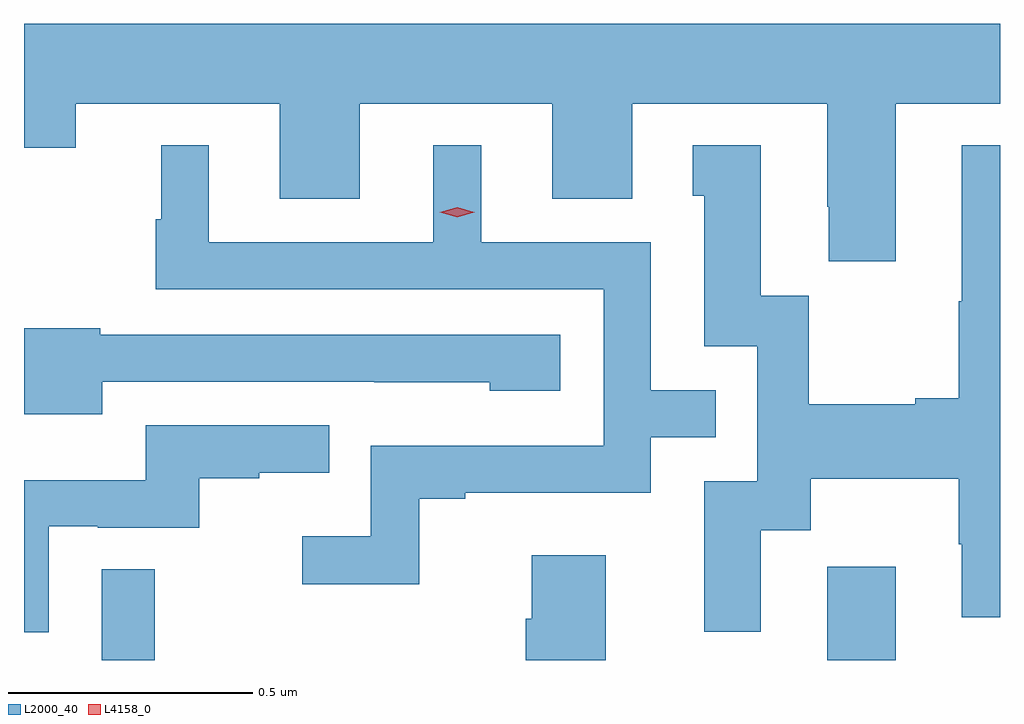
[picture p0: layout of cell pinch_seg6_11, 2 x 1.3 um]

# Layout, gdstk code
import gdstk
lib = gdstk.Library(unit=1e-6, precision=1e-09)
def R(c, l, rs):  # rectangles x0, y0, x1, y1
    for r in rs: c.add(gdstk.rectangle(r[:2], r[2:], *l))
def P(c, l, *ps):  # polygons
    for p in ps: c.add(gdstk.Polygon(p, *l))
L2000_40 = (2000, 40)
L4158_0 = (4158, 0)

pinch_seg6_11 = lib.new_cell('pinch_seg6_11')
R(pinch_seg6_11, L2000_40, [(962.268,995.48,962.377,995.666), (963.755,995.48,963.895,995.671)])
P(pinch_seg6_11, L2000_40, [(963.895,996.62),(964.109,996.62),(964.109,996.784),(962.109,996.784),(962.109,996.53),(962.215,996.53),(962.215,996.62),(962.633,996.62),(962.633,996.426),(962.797,996.426),(962.797,996.62),(963.191,996.62),(963.191,996.426),(963.355,996.426),(963.355,996.62),(963.755,996.62),(963.755,996.409),(963.758,996.409),(963.758,996.297),(963.895,996.297)],
  [(963.619,995.746),(963.721,995.746),(963.721,995.852),(964.024,995.852),(964.024,995.718),(964.031,995.718),(964.031,995.568),(964.109,995.568),(964.109,996.535),(964.031,996.535),(964.031,996.215),(964.024,996.215),(964.024,996.017),(963.935,996.017),(963.935,996.004),(963.717,996.004),(963.717,996.227),(963.619,996.227),(963.619,996.535),(963.479,996.535),(963.479,996.432),(963.503,996.432),(963.503,996.123),(963.612,996.123),(963.612,995.847),(963.503,995.847),(963.503,995.538),(963.619,995.538)],
  [(962.919,995.811),(963.013,995.811),(963.013,995.823),(963.393,995.823),(963.393,995.937),(963.527,995.937),(963.527,996.033),(963.393,996.033),(963.393,996.336),(963.046,996.336),(963.046,996.535),(962.948,996.535),(962.948,996.336),(962.488,996.336),(962.488,996.535),(962.39,996.535),(962.39,996.384),(962.379,996.384),(962.379,996.24),(963.297,996.24),(963.297,995.919),(962.82,995.919),(962.82,995.734),(962.679,995.734),(962.679,995.636),(962.919,995.636)],
  [(962.269,996.051),(962.827,996.051),(962.827,996.05),(963.063,996.05),(963.063,996.032),(963.208,996.032),(963.208,996.147),(962.265,996.147),(962.265,996.16),(962.109,996.16),(962.109,995.984),(962.269,995.984)],
  [(962.16,995.754),(962.26,995.754),(962.26,995.751),(962.468,995.751),(962.468,995.853),(962.591,995.853),(962.591,995.864),(962.735,995.864),(962.735,995.961),(962.358,995.961),(962.358,995.849),(962.109,995.849),(962.109,995.537),(962.16,995.537)],
  [(963.301,995.695),(963.149,995.695),(963.149,995.565),(963.137,995.565),(963.137,995.48),(963.301,995.48)])
P(pinch_seg6_11, L4158_0, [(962.997,996.388),(962.961,996.398),(962.961,996.398),(962.961,996.398),(962.997,996.408),(963.032,996.398),(963.033,996.398),(963.032,996.398)])

lib.write_gds('pinch_seg6_11.gds')
